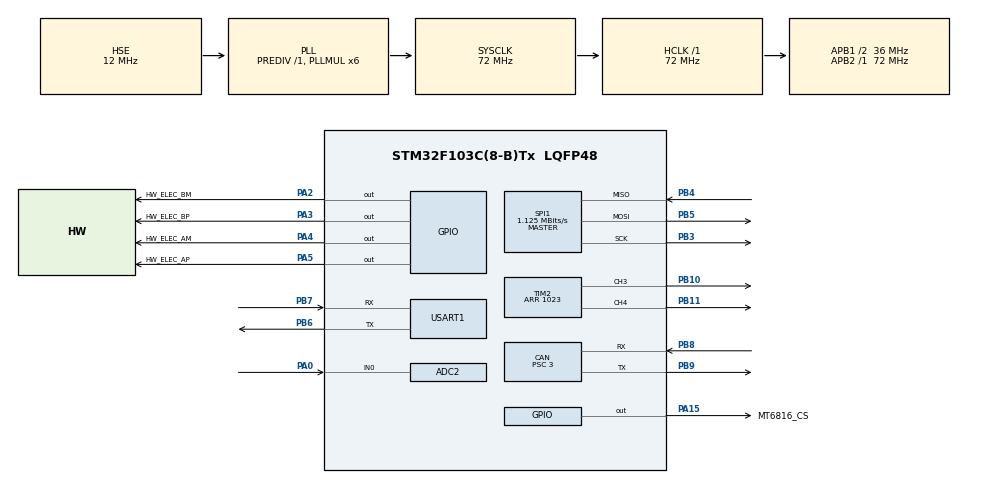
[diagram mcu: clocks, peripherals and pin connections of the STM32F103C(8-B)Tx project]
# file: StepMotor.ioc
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ADC1.Channel-1\#ChannelRegularConversion=ADC_CHANNEL_VREFINT
ADC1.NbrOfConversionFlag=1
ADC1.Rank-1\#ChannelRegularConversion=1
ADC1.SamplingTime-1\#ChannelRegularConversion=ADC_SAMPLETIME_1CYCLE_5
ADC1.master=1
ADC2.Channel-2\#ChannelRegularConversion=ADC_CHANNEL_0
ADC2.NbrOfConversionFlag=1
ADC2.Rank-2\#ChannelRegularConversion=1
ADC2.SamplingTime-2\#ChannelRegularConversion=ADC_SAMPLETIME_1CYCLE_5
CAN.BS1=CAN_BS1_9TQ
CAN.BS2=CAN_BS2_2TQ
CAN.CalculateBaudRate=1000000
CAN.CalculateTimeBit=999.99
CAN.CalculateTimeQuantum=83.33333333333334
CAN.Mode=CAN_MODE_NORMAL
CAN.Prescaler=3
FREERTOS.Tasks01=defaultTask,0,128,StartDefaultTask,Default,NULL,Dynamic,NULL,NULL
Mcu.Family=STM32F1
Mcu.Name=STM32F103C(8-B)Tx
Mcu.Package=LQFP48
NVIC.PriorityGroup=NVIC_PRIORITYGROUP_4
NVIC.SPI1_IRQn=true\:5\:0\:false\:false\:true\:true\:true\:true
NVIC.USB_LP_CAN1_RX0_IRQn=true\:5\:0\:false\:false\:true\:true\:true\:true
PA0-WKUP.Signal=ADCx_IN0
PA13.Mode=Serial_Wire
PA13.Signal=SYS_JTMS-SWDIO
PA14.Mode=Serial_Wire
PA14.Signal=SYS_JTCK-SWCLK
PA15.GPIO_Label=MT6816_CS
PA15.GPIO_PuPd=GPIO_NOPULL
PA15.GPIO_Speed=GPIO_SPEED_FREQ_HIGH
PA15.PinState=GPIO_PIN_RESET
PA15.Signal=GPIO_Output
PA2.GPIO_Label=HW_ELEC_BM
PA2.GPIO_Speed=GPIO_SPEED_FREQ_HIGH
PA2.PinState=GPIO_PIN_SET
PA2.Signal=GPIO_Output
PA3.GPIO_Label=HW_ELEC_BP
PA3.GPIO_Speed=GPIO_SPEED_FREQ_HIGH
PA3.PinState=GPIO_PIN_SET
PA3.Signal=GPIO_Output
PA4.GPIO_Label=HW_ELEC_AM
PA4.GPIO_Speed=GPIO_SPEED_FREQ_HIGH
PA4.PinState=GPIO_PIN_SET
PA4.Signal=GPIO_Output
PA5.GPIO_Label=HW_ELEC_AP
PA5.GPIO_Speed=GPIO_SPEED_FREQ_HIGH
PA5.PinState=GPIO_PIN_SET
PA5.Signal=GPIO_Output
PB10.Signal=S_TIM2_CH3
PB11.Signal=S_TIM2_CH4
PB3.Mode=Full_Duplex_Master
PB3.Signal=SPI1_SCK
PB4.Mode=Full_Duplex_Master
PB4.Signal=SPI1_MISO
PB5.GPIO_Speed=GPIO_SPEED_FREQ_HIGH
PB5.Mode=Full_Duplex_Master
PB5.Signal=SPI1_MOSI
PB6.Mode=Asynchronous
PB6.Signal=USART1_TX
PB7.Mode=Asynchronous
PB7.Signal=USART1_RX
PB8.Mode=CAN_Activate
PB8.Signal=CAN_RX
PB9.Mode=CAN_Activate
PB9.Signal=CAN_TX
PD0-OSC_IN.Mode=HSE-External-Oscillator
PD0-OSC_IN.Signal=RCC_OSC_IN
PD1-OSC_OUT.Mode=HSE-External-Oscillator
PD1-OSC_OUT.Signal=RCC_OSC_OUT
ProjectManager.HeapSize=0x200
ProjectManager.StackSize=0x400
ProjectManager.TargetToolchain=MDK-ARM V5
RCC.ADCPresc=RCC_ADCPCLK2_DIV6
RCC.AHBFreq_Value=72000000
RCC.APB1CLKDivider=RCC_HCLK_DIV2
RCC.APB1Freq_Value=36000000
RCC.APB1TimFreq_Value=72000000
RCC.APB2Freq_Value=72000000
RCC.APB2TimFreq_Value=72000000
RCC.HCLKFreq_Value=72000000
RCC.HSE_VALUE=12000000
RCC.PLLMUL=RCC_PLL_MUL6
RCC.PLLSourceVirtual=RCC_PLLSOURCE_HSE
RCC.SYSCLKFreq_VALUE=72000000
RCC.SYSCLKSource=RCC_SYSCLKSOURCE_PLLCLK
RCC.USBFreq_Value=72000000
SH.ADCx_IN0.0=ADC2_IN0,IN0
SH.S_TIM2_CH3.0=TIM2_CH3,PWM Generation3 CH3
SH.S_TIM2_CH4.0=TIM2_CH4,PWM Generation4 CH4
SPI1.BaudRatePrescaler=SPI_BAUDRATEPRESCALER_64
SPI1.CLKPhase=SPI_PHASE_2EDGE
SPI1.CLKPolarity=SPI_POLARITY_HIGH
SPI1.CalculateBaudRate=1.125 MBits/s
SPI1.DataSize=SPI_DATASIZE_16BIT
SPI1.Direction=SPI_DIRECTION_2LINES
SPI1.Mode=SPI_MODE_MASTER
SPI1.VirtualType=VM_MASTER
TIM2.Channel-PWM\ Generation3\ CH3=TIM_CHANNEL_3
TIM2.Channel-PWM\ Generation4\ CH4=TIM_CHANNEL_4
TIM2.Period=1023
USART1.VirtualMode=VM_ASYNC
VP_ADC1_TempSens_Input.Mode=IN-TempSens
VP_ADC1_Vref_Input.Mode=IN-Vrefint
VP_FREERTOS_VS_CMSIS_V1.Mode=CMSIS_V1
board=custom

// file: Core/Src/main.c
/* USER CODE BEGIN Header */
/**
  ******************************************************************************
  * @file           : main.c
  * @brief          : Main program body
  ******************************************************************************
  * @attention
  *
  * <h2><center>&copy; Copyright (c) 2022 STMicroelectronics.
  * All rights reserved.</center></h2>
  *
  * This software component is licensed by ST under BSD 3-Clause license,
  * the "License"; You may not use this file except in compliance with the
  * License. You may obtain a copy of the License at:
  *                        opensource.org/licenses/BSD-3-Clause
  *
  ******************************************************************************
  */
/* USER CODE END Header */
#include "main.h"
#include "cmsis_os.h"
#include "adc.h"
#include "can.h"
#include "spi.h"
#include "tim.h"
#include "usart.h"
#include "gpio.h"

/* USER CODE BEGIN Includes */
#include "bsp_adc.h"
#include "MT6816Driver.h"
#include "motor_control.h"
#include "hw_elec.h"
#include "encoder_cali.h"
/* USER CODE END Includes */

void SystemClock_Config(void);
void MX_FREERTOS_Init(void);

/* USER CODE BEGIN 0 */
//fp32 voltage;
extern MT6816_Typedef	mt6816;
extern Motor_Control_Typedef 	motor_control;
extern SPI_HandleTypeDef hspi1;
extern TIM_HandleTypeDef htim2;
extern Encode_Cali_Typedef encode_cali;

/* USER CODE END 0 */

int main(void)
{

  /* MCU Configuration--------------------------------------------------------*/

  /* Reset of all peripherals, Initializes the Flash interface and the Systick. */
  HAL_Init();

  /* Configure the system clock */
  SystemClock_Config();

  /* Initialize all configured peripherals */
  MX_GPIO_Init();
  MX_USART1_UART_Init();
  MX_ADC1_Init();
  MX_ADC2_Init();
  MX_SPI1_Init();
  MX_TIM2_Init();
  MX_CAN_Init();
  /* USER CODE BEGIN 2 */
	//初始化电压基准系数
	init_vrefint_reciprocal();
	//开启定时器
  HAL_TIM_Base_Start(&htim2);
  //start pwm channel
  //开启PWM通道
  HAL_TIM_PWM_Start(&htim2, TIM_CHANNEL_3);
  HAL_TIM_PWM_Start(&htim2, TIM_CHANNEL_4);
	//初始化编码器
	REIN_MT6816_Init();
	//初始化PID
	Control_PID_Init();
	Control_DCE_Init();
	//初始化校准器
	Calibration_Init();
	encode_cali.trigger=true;

	//CAN过滤器
	can_filter_init();
  /* USER CODE END 2 */

  /* Call init function for freertos objects (in freertos.c) */
  MX_FREERTOS_Init();
  /* Start scheduler */
  osKernelStart();

  /* We should never get here as control is now taken by the scheduler */
  /* Infinite loop */
  while (1)
  {

    /* USER CODE BEGIN 3 */
		//获取电源电压
		//voltage = get_battery_voltage();

		//串口1发送“Robomaster”
		//HAL_UART_Transmit(&huart1, "\r\nRobomaster\r\n", 14, 100);
		//获取编码器角度
		//REIN_MT6816_Get_AngleData();
		//i = mt6816.angle_data;
		//Flag = mt6816_spi.no_mag_flag;
		//延时1000ms
		//REIN_HW_Elec_SetDivideElec(1000,3000);
		//motor_control.est_location = mt6816.angle_data;
			//Control_Cur_To_Electric(cu);
		//Delay_us(1000);
		//REIN_HW_Elec_SetBrake();
		//Control_PID_To_Electric(102400);
		//HAL_Delay(100);
  }
  /* USER CODE END 3 */
}

void SystemClock_Config(void)
{
  RCC_OscInitTypeDef RCC_OscInitStruct = {0};
  RCC_ClkInitTypeDef RCC_ClkInitStruct = {0};
  RCC_PeriphCLKInitTypeDef PeriphClkInit = {0};

  /** Initializes the RCC Oscillators according to the specified parameters
  * in the RCC_OscInitTypeDef structure.
  */
  RCC_OscInitStruct.OscillatorType = RCC_OSCILLATORTYPE_HSE;
  RCC_OscInitStruct.HSEState = RCC_HSE_ON;
  RCC_OscInitStruct.HSEPredivValue = RCC_HSE_PREDIV_DIV1;
  RCC_OscInitStruct.HSIState = RCC_HSI_ON;
  RCC_OscInitStruct.PLL.PLLState = RCC_PLL_ON;
  RCC_OscInitStruct.PLL.PLLSource = RCC_PLLSOURCE_HSE;
  RCC_OscInitStruct.PLL.PLLMUL = RCC_PLL_MUL6;
  if (HAL_RCC_OscConfig(&RCC_OscInitStruct) != HAL_OK)
  {
    Error_Handler();
  }
  /** Initializes the CPU, AHB and APB buses clocks
  */
  RCC_ClkInitStruct.ClockType = RCC_CLOCKTYPE_HCLK|RCC_CLOCKTYPE_SYSCLK
                              |RCC_CLOCKTYPE_PCLK1|RCC_CLOCKTYPE_PCLK2;
  RCC_ClkInitStruct.SYSCLKSource = RCC_SYSCLKSOURCE_PLLCLK;
  RCC_ClkInitStruct.AHBCLKDivider = RCC_SYSCLK_DIV1;
  RCC_ClkInitStruct.APB1CLKDivider = RCC_HCLK_DIV2;
  RCC_ClkInitStruct.APB2CLKDivider = RCC_HCLK_DIV1;

  if (HAL_RCC_ClockConfig(&RCC_ClkInitStruct, FLASH_LATENCY_2) != HAL_OK)
  {
    Error_Handler();
  }
  PeriphClkInit.PeriphClockSelection = RCC_PERIPHCLK_ADC;
  PeriphClkInit.AdcClockSelection = RCC_ADCPCLK2_DIV6;
  if (HAL_RCCEx_PeriphCLKConfig(&PeriphClkInit) != HAL_OK)
  {
    Error_Handler();
  }
}

void Error_Handler(void)
{
  __disable_irq();
  while (1)
  {
  }
}

/************************ (C) COPYRIGHT STMicroelectronics *****END OF FILE****/

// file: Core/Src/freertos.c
/* USER CODE BEGIN Header */
/**
  ******************************************************************************
  * File Name          : freertos.c
  * Description        : Code for freertos applications
  ******************************************************************************
  * @attention
  *
  * <h2><center>&copy; Copyright (c) 2022 STMicroelectronics.
  * All rights reserved.</center></h2>
  *
  * This software component is licensed by ST under Ultimate Liberty license
  * SLA0044, the "License"; You may not use this file except in compliance with
  * the License. You may obtain a copy of the License at:
  *                             www.st.com/SLA0044
  *
  ******************************************************************************
  */
/* USER CODE END Header */

#include "FreeRTOS.h"
#include "task.h"
#include "main.h"
#include "cmsis_os.h"

/* USER CODE BEGIN Includes */
#include "MT6816Driver.h"
#include "motor_control.h"
#include "hw_elec.h"
#include "encoder_cali.h"
#include "can.h"

/* USER CODE END Includes */

/* USER CODE BEGIN Variables */
osThreadId current_conHandle;
//osThreadId angle_detHandle;
osThreadId encoder_caliHandle;

extern MT6816_Typedef	mt6816;
extern Motor_Control_Typedef 	motor_control;
/* USER CODE END Variables */
osThreadId defaultTaskHandle;

/* USER CODE BEGIN FunctionPrototypes */
void current_control(void const *argument);
void angle_detect(void const *argument);
void Encoder_Calibration(void const *argument);
/* USER CODE END FunctionPrototypes */

void StartDefaultTask(void const * argument);

void MX_FREERTOS_Init(void); /* (MISRA C 2004 rule 8.1) */

/* GetIdleTaskMemory prototype (linked to static allocation support) */
void vApplicationGetIdleTaskMemory( StaticTask_t **ppxIdleTaskTCBBuffer, StackType_t **ppxIdleTaskStackBuffer, uint32_t *pulIdleTaskStackSize );

/* USER CODE BEGIN GET_IDLE_TASK_MEMORY */
static StaticTask_t xIdleTaskTCBBuffer;
static StackType_t xIdleStack[configMINIMAL_STACK_SIZE];

void vApplicationGetIdleTaskMemory( StaticTask_t **ppxIdleTaskTCBBuffer, StackType_t **ppxIdleTaskStackBuffer, uint32_t *pulIdleTaskStackSize )
{
  *ppxIdleTaskTCBBuffer = &xIdleTaskTCBBuffer;
  *ppxIdleTaskStackBuffer = &xIdleStack[0];
  *pulIdleTaskStackSize = configMINIMAL_STACK_SIZE;
  /* place for user code */
}
/* USER CODE END GET_IDLE_TASK_MEMORY */

void MX_FREERTOS_Init(void) {

  /* Create the thread(s) */
  /* definition and creation of defaultTask */
  osThreadDef(defaultTask, StartDefaultTask, osPriorityNormal, 0, 128);
  defaultTaskHandle = osThreadCreate(osThread(defaultTask), NULL);

  /* USER CODE BEGIN RTOS_THREADS */
  /* add threads, ... */
	osThreadDef(current_con, current_control, osPriorityNormal, 1, 256);
	current_conHandle = osThreadCreate(osThread(current_con), NULL);

//	osThreadDef(angle_det, angle_detect, osPriorityNormal, 0, 128);
//	angle_detHandle = osThreadCreate(osThread(angle_det), NULL);

	osThreadDef(encoder_cali, Encoder_Calibration, osPriorityNormal, 0, 128);
	encoder_caliHandle = osThreadCreate(osThread(encoder_cali), NULL);
  /* USER CODE END RTOS_THREADS */

}

void StartDefaultTask(void const * argument)
{
  for(;;)
  {
    osDelay(1);
  }
}

/* USER CODE BEGIN Application */
void current_control(void const *argument)
{
	while(1)
	{
//		if(motor_control.est_location == 10*200*256);
//		else
		REIN_MT6816_Get_AngleData();
		//Motor_Control_Callback();
		Calibration_Interrupt_Callback();
		//Control_Cur_To_Electric(800);

		Calibration_Loop_Callback();
		osDelay(1);
	}
}

//void angle_detect(void const *argument)
//{
//	while(1)
//	{
//
//		//motor_control.est_location = mt6816.angle_data;
//		osDelay(2);
//	}

//}

void Encoder_Calibration(void const *argument)
{
	while(1)
	{

		CAN_cmd_feedback();

		osDelay(2);
	}

}
/* USER CODE END Application */

/************************ (C) COPYRIGHT STMicroelectronics *****END OF FILE****/
